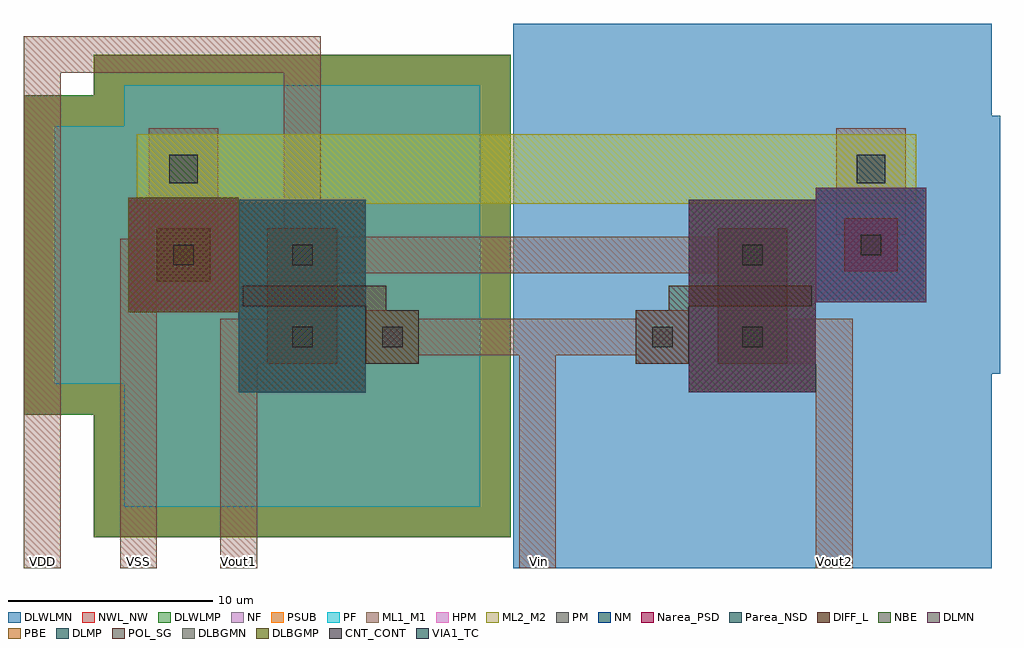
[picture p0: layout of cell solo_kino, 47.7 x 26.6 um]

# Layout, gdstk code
from math import pi, radians
import gdstk
lib = gdstk.Library(unit=1e-6, precision=1e-07)
def R(c, l, rs):  # rectangles x0, y0, x1, y1
    for r in rs: c.add(gdstk.rectangle(r[:2], r[2:], *l))
DIFF_L = (3, 0)
NM = (7, 0)
POL_SG = (8, 0)
Narea_PSD = (9, 0)
CNT_CONT = (11, 0)
ML1_M1 = (13, 0)
VIA1_TC = (19, 0)
ML2_M2 = (20, 0)
NF = (25, 0)
PF = (26, 0)
Parea_NSD = (28, 0)
HPM = (33, 0)
PM = (35, 0)
NWL_NW = (36, 0)
PSUB = (140, 0)
PBE = (146, 0)
NBE = (147, 0)
DLWLMP = (150, 0)
DLWLMN = (151, 0)
DLMP = (157, 0)
DLMN = (158, 0)
DLBGMP = (177, 0)
DLBGMN = (178, 0)

dcont = lib.new_cell('dcont')
R(dcont, DIFF_L, [(-1.3,-1.3,1.3,1.3)])
R(dcont, CNT_CONT, [(-0.5,-0.5,0.5,0.5)])
R(dcont, ML1_M1, [(-1.3,-1.3,1.3,1.3), (-0.5,-0.5,0.5,0.5)])

pcont = lib.new_cell('pcont')
R(pcont, POL_SG, [(-1.3,-1.3,1.3,1.3)])
R(pcont, CNT_CONT, [(-0.5,-0.5,0.5,0.5)])
R(pcont, ML1_M1, [(-1.3,-1.3,1.3,1.3), (-0.5,-0.5,0.5,0.5)])

c_dcont = lib.new_cell('DCONT')
R(c_dcont, DIFF_L, [(-1.3,-1.3,1.3,1.3)])
R(c_dcont, CNT_CONT, [(-0.5,-0.5,0.5,0.5)])
R(c_dcont, ML1_M1, [(-1.3,-1.3,1.3,1.3), (-0.5,-0.5,0.5,0.5)])

psubcont = lib.new_cell('psubcont')
R(psubcont, NM, [(-2.8,-2.7,2.8,2.7)])
R(psubcont, Parea_NSD, [(-2.8,-2.7,2.8,2.7)])
R(psubcont, HPM, [(-2.8,-2.7,2.8,2.7)])
R(psubcont, PM, [(-2.8,-2.7,2.8,2.7)])
R(psubcont, DLWLMN, [(-6.3,-6.3,6.3,6.3)])
R(psubcont, DLBGMN, [(-2.8,-2.7,2.8,2.7)])
psubcont.add(gdstk.Reference(c_dcont, (0,0)))

mn_1 = lib.new_cell('MN$1')
R(mn_1, DIFF_L, [(0,3.6,6.6,7)])
R(mn_1, Narea_PSD, [(-1.4,2.2,8,8.4)])
R(mn_1, HPM, [(-1.4,2.2,8,8.4)])
R(mn_1, PM, [(-1.4,2.2,8,8.4)])
R(mn_1, NBE, [(-1.4,2.2,8,8.4)])
R(mn_1, DLWLMN, [(-10,-6.4,16.6,17)])
R(mn_1, DLMN, [(-1.4,2.2,8,8.4)])
mn_1.add(gdstk.FlexPath([(1.3,3.6),(1.3,7)], 2.6, ends="flush", simple_path=True, layer=13, datatype=0))  # ML1_M1
mn_1.add(gdstk.FlexPath([(5.3,3.6),(5.3,7)], 2.6, ends="flush", simple_path=True, layer=13, datatype=0))  # ML1_M1
mn_1.add(gdstk.FlexPath([(1.3,1.3),(1.3,4.6)], 1.8, ends="flush", simple_path=True, layer=13, datatype=0))  # ML1_M1
mn_1.add(gdstk.FlexPath([(5.3,6),(5.3,9.3)], 1.8, ends="flush", simple_path=True, layer=13, datatype=0))  # ML1_M1
mn_1.add(gdstk.FlexPath([(3.3,3.6),(3.3,7)], 1, ends=(1.2, 1.2), simple_path=True, layer=8, datatype=0))  # POL_SG
mn_1.add(gdstk.FlexPath([(1.3,8.9),(3.3,8.9),(3.3,8.2)], 1, ends="flush", simple_path=True, layer=8, datatype=0))  # POL_SG
mn_1.add(gdstk.Reference(dcont, (1.3,5.3)))
mn_1.add(gdstk.Reference(dcont, (5.3,5.3)))
mn_1.add(gdstk.Reference(pcont, (1.3,9.7)))
mn_1.add(gdstk.Reference(psubcont, (5.8,-0.5)))

nsubcont = lib.new_cell('nsubcont')
R(nsubcont, NM, [(-2.8,-2.7,2.8,2.7)])
R(nsubcont, Narea_PSD, [(-2.8,-2.7,2.8,2.7)])
R(nsubcont, NF, [(-6.3,-6.3,6.3,6.3)])
R(nsubcont, PF, [(-6.3,-6.3,6.3,6.3)])
R(nsubcont, HPM, [(-2.8,-2.7,2.8,2.7)])
R(nsubcont, PM, [(-2.8,-2.7,2.8,2.7)])
R(nsubcont, NWL_NW, [(-7.8,-7.8,7.8,7.8)])
R(nsubcont, PSUB, [(-6.3,-6.3,6.3,6.3)])
R(nsubcont, DLWLMP, [(-7.8,-7.8,7.8,7.8)])
R(nsubcont, DLBGMP, [(-2.8,-2.7,2.8,2.7)])
nsubcont.add(gdstk.Reference(c_dcont, (0,0)))

mp_1 = lib.new_cell('MP$1')
R(mp_1, DIFF_L, [(0,3.6,6.6,7)])
R(mp_1, NM, [(-1.4,2.2,8,8.4)])
R(mp_1, NF, [(-7,-3.4,13.6,14)])
R(mp_1, PF, [(-7,-3.4,13.6,14)])
R(mp_1, Parea_NSD, [(-1.4,2.2,8,8.4)])
R(mp_1, HPM, [(-1.4,2.2,8,8.4)])
R(mp_1, NWL_NW, [(-8.5,-4.9,15.1,15.5)])
R(mp_1, PSUB, [(-7,-3.4,13.6,14)])
R(mp_1, PBE, [(-1.4,2.2,8,8.4)])
R(mp_1, DLWLMP, [(-8.5,-4.9,15.1,15.5)])
R(mp_1, DLMP, [(-1.4,2.2,8,8.4)])
mp_1.add(gdstk.FlexPath([(1.3,3.6),(1.3,7)], 2.6, ends="flush", simple_path=True, layer=13, datatype=0))  # ML1_M1
mp_1.add(gdstk.FlexPath([(5.3,3.6),(5.3,7)], 2.6, ends="flush", simple_path=True, layer=13, datatype=0))  # ML1_M1
mp_1.add(gdstk.FlexPath([(1.3,6),(1.3,9.3)], 1.8, ends="flush", simple_path=True, layer=13, datatype=0))  # ML1_M1
mp_1.add(gdstk.FlexPath([(5.3,1.3),(5.3,4.6)], 1.8, ends="flush", simple_path=True, layer=13, datatype=0))  # ML1_M1
mp_1.add(gdstk.FlexPath([(3.3,3.6),(3.3,7)], 1, ends=(1.2, 1.2), simple_path=True, layer=8, datatype=0))  # POL_SG
mp_1.add(gdstk.FlexPath([(1.3,1.7),(3.3,1.7),(3.3,2.4)], 1, ends="flush", simple_path=True, layer=8, datatype=0))  # POL_SG
mp_1.add(gdstk.Reference(dcont, (1.3,5.3)))
mp_1.add(gdstk.Reference(dcont, (5.3,5.3)))
mp_1.add(gdstk.Reference(pcont, (1.3,0.9)))
mp_1.add(gdstk.Reference(nsubcont, (5.3,11.1)))

solo_kino = lib.new_cell('solo_kino')
R(solo_kino, ML1_M1, [(-7.9,0,-6.6,0.4), (18,0,20.2,0.4)])
R(solo_kino, VIA1_TC, [(-11.8,8.8,-10.4,10.2), (21.8,8.8,23.2,10.2)])
solo_kino.add(gdstk.FlexPath([(-11.1,5.8),(-11.1,11.5)], 3.4, ends="flush", simple_path=True, layer=13, datatype=0))  # ML1_M1
solo_kino.add(gdstk.FlexPath([(22.5,6.3),(22.5,11.5)], 3.4, ends="flush", simple_path=True, layer=13, datatype=0))  # ML1_M1
solo_kino.add(gdstk.FlexPath([(-5.3,5.8),(-5.3,15.8)], 1.8, ends="flush", simple_path=True, layer=13, datatype=0))  # ML1_M1
solo_kino.add(gdstk.FlexPath([(-4.4,15.1),(-18,15.1)], 1.8, ends="flush", simple_path=True, layer=13, datatype=0))  # ML1_M1
solo_kino.add(gdstk.FlexPath([(-18,16),(-18,-10)], 1.8, ends="flush", simple_path=True, layer=13, datatype=0))  # ML1_M1
solo_kino.add(gdstk.FlexPath([(-7.5,1.3),(-8.4,1.3),(-8.4,-10)], 1.8, ends="flush", simple_path=True, layer=13, datatype=0))  # ML1_M1
solo_kino.add(gdstk.FlexPath([(-11.6,5.2),(-13.3,5.2),(-13.3,-10)], 1.8, ends="flush", simple_path=True, layer=13, datatype=0))  # ML1_M1
solo_kino.add(gdstk.FlexPath([(6.2,1.3),(6.2,-10)], 1.8, ends="flush", simple_path=True, layer=13, datatype=0))  # ML1_M1
solo_kino.add(gdstk.FlexPath([(19.3,1.3),(20.7,1.3),(20.7,-10)], 1.8, ends="flush", simple_path=True, layer=13, datatype=0))  # ML1_M1
solo_kino.add(gdstk.FlexPath([(-0.2,1.3),(11.5,1.3)], 1.8, ends="flush", simple_path=True, layer=13, datatype=0))  # ML1_M1
solo_kino.add(gdstk.FlexPath([(-1.7,5.3),(13.2,5.3)], 1.8, ends="flush", simple_path=True, layer=13, datatype=0))  # ML1_M1
solo_kino.add(gdstk.FlexPath([(-13.4,9.5),(24.7,9.5)], 3.4, ends="flush", simple_path=True, layer=20, datatype=0))  # ML2_M2
solo_kino.add(gdstk.Reference(mn_1, (22,0), rotation=pi/2))
solo_kino.add(gdstk.Reference(mp_1, (0,0), rotation=pi/2))
solo_kino.add(gdstk.Label('VDD', (-18,-9.7), layer=13, texttype=0))
solo_kino.add(gdstk.Label('VSS', (-13.3,-9.7), layer=13, texttype=0))
solo_kino.add(gdstk.Label('Vin', (6.3,-9.7), layer=13, texttype=0))
solo_kino.add(gdstk.Label('Vout1', (-8.4,-9.7), layer=13, texttype=0))
solo_kino.add(gdstk.Label('Vout2', (20.7,-9.7), layer=13, texttype=0))

lib.write_gds('solo_kino.gds')
